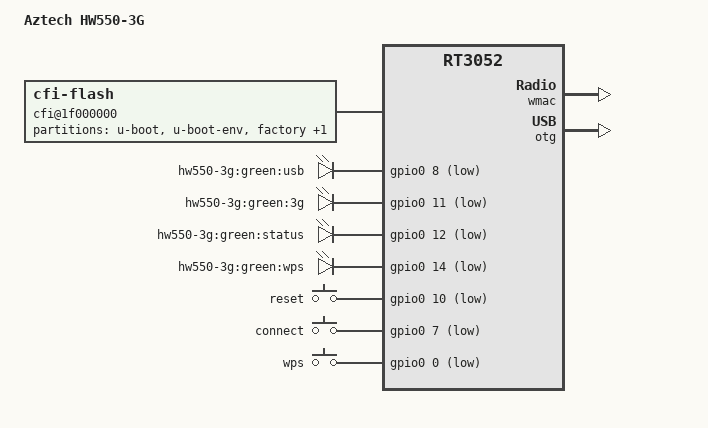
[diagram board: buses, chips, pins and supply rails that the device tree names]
/dts-v1/;

#include "rt3050.dtsi"

/ {
	compatible = "HW550-3G", "ralink,rt3052-soc";
	model = "Aztech HW550-3G";

	cfi@1f000000 {
		compatible = "cfi-flash";
		reg = <0x1f000000 0x800000>;
		bank-width = <2>;
		device-width = <2>;
		#address-cells = <1>;
		#size-cells = <1>;

		partition@0 {
			label = "u-boot";
			reg = <0x0 0x30000>;
			read-only;
		};

		partition@30000 {
			label = "u-boot-env";
			reg = <0x30000 0x10000>;
			read-only;
		};

		factory: partition@40000 {
			label = "factory";
			reg = <0x40000 0x10000>;
			read-only;
		};

		partition@50000 {
			label = "firmware";
			reg = <0x50000 0x7b0000>;
		};
	};

	gpio-leds {
		compatible = "gpio-leds";

		usb {
			label = "hw550-3g:green:usb";
			gpios = <&gpio0 8 1>;
		};

		3g {
			label = "hw550-3g:green:3g";
			gpios = <&gpio0 11 1>;
		};

		status {
			label = "hw550-3g:green:status";
			gpios = <&gpio0 12 1>;
		};

		wps {
			label = "hw550-3g:green:wps";
			gpios = <&gpio0 14 1>;
		};
	};

	gpio-keys-polled {
		compatible = "gpio-keys-polled";
		#address-cells = <1>;
		#size-cells = <0>;
		poll-interval = <20>;

		reset {
			label = "reset";
			gpios = <&gpio0 10 1>;
			linux,code = <0x198>;
		};

		connect {
			label = "connect";
			gpios = <&gpio0 7 1>;
			linux,code = <0xda>;
		};

		wps {
			label = "wps";
			gpios = <&gpio0 0 1>;
			linux,code = <0x211>;
		};
	};
};

&pinctrl {
	state_default: pinctrl0 {
		gpio {
			ralink,group = "spi", "i2c", "jtag", "rgmii", "mdio", "uartf";
			ralink,function = "gpio";
		};
	};
};

&ethernet {
	mtd-mac-address = <&factory 0x28>;
};

&esw {
	mediatek,portmap = <0x3e>;
};

&wmac {
	ralink,mtd-eeprom = <&factory 0>;
};

&otg {
	status = "okay";
};
